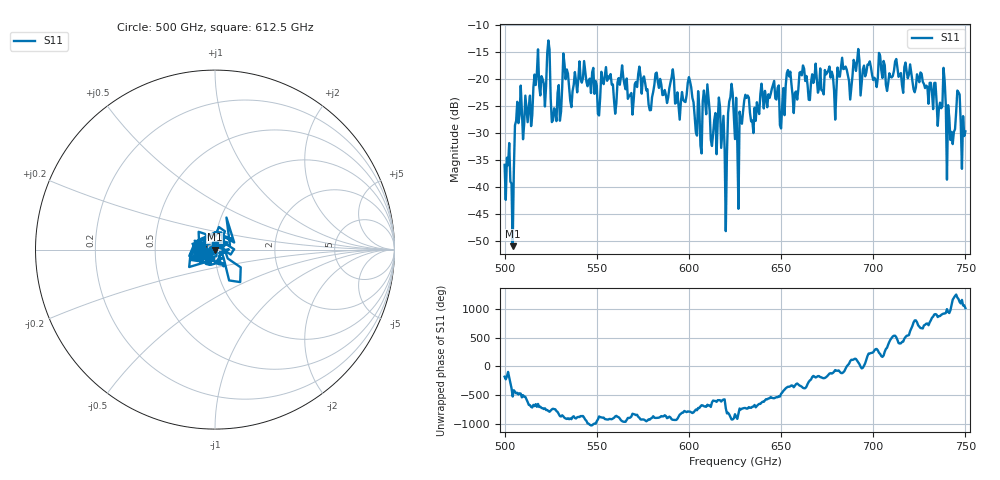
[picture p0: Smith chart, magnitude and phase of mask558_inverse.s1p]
!Created with skrf (http://scikit-rf.org).
# GHz S MA R 50.0
!freq magS11 angS11
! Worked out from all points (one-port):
!   401 points, 500 GHz to 750 GHz, reference 50 ohm
!   lowest |S11| = -50.9 dB at 504.4 GHz (marker M1), VSWR 1.01, Z = 49.7 - j0.0911 ohm
!   |S11| at or under -10 dB: start of sweep to end of sweep
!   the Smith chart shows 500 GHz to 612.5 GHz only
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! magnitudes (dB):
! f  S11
! 500 GHz  -35.8
! 504.4 GHz  -50.9
! 507.5 GHz  -28.1
! 513.8 GHz  -23.0
! 516.9 GHz  -21.1
! 523.8 GHz  -12.8
! 526.9 GHz  -25.4
! 531.2 GHz  -21.4
! 562.5 GHz  -21.0
! 579.4 GHz  -25.7
! 590.6 GHz  -19.6
! 593.8 GHz  -22.4
! 600.6 GHz  -20.4
! 605.6 GHz  -25.3
! 609.4 GHz  -26.5
! 612.5 GHz  -32.3
! 617.5 GHz  -32.7
! 619.4 GHz  -32.9
! 622.5 GHz  -23.3
! 625 GHz  -31.1
! 627.5 GHz  -26.0
! 631.2 GHz  -23.4
! 635 GHz  -29.9
! 656.2 GHz  -23.0
! 687.5 GHz  -23.7
! 718.8 GHz  -19.8
! 741.2 GHz  -27.0
! 750 GHz  -29.6
